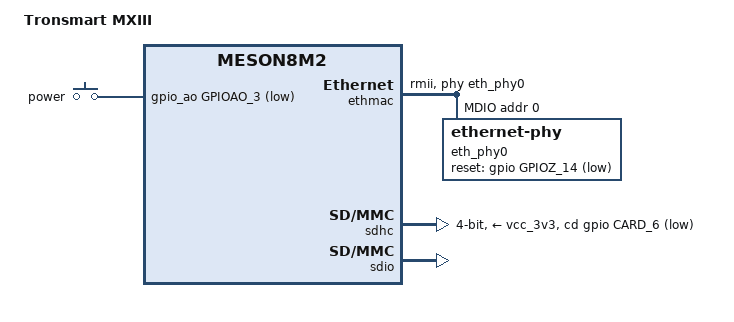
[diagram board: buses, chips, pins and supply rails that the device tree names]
// SPDX-License-Identifier: (GPL-2.0+ OR MIT)
/*
 * Copyright (c) 2018 Martin Blumenstingl <martin.blumenstingl@googlemail.com>
 */

/dts-v1/;

#include "meson8m2-mxiii.dtsi"

/ {
	model = "Tronsmart MXIII";
	compatible = "tronsmart,mxiii", "amlogic,meson8m2";

	gpio-keys-polled {
		compatible = "gpio-keys-polled";
		#address-cells = <1>;
		#size-cells = <0>;
		poll-interval = <100>;

		button-power {
			label = "power";
			linux,code = <KEY_POWER>;
			gpios = <&gpio_ao GPIOAO_3 GPIO_ACTIVE_LOW>;
		};
	};
};

&ethmac {
	status = "okay";

	pinctrl-0 = <&eth_pins>;
	pinctrl-names = "default";

	phy-handle = <&eth_phy0>;
	phy-mode = "rmii";

	mdio {
		compatible = "snps,dwmac-mdio";
		#address-cells = <1>;
		#size-cells = <0>;

		eth_phy0: ethernet-phy@0 {
			/* IC Plus IP101A/G (0x02430c54) */
			reg = <0>;
			icplus,select-interrupt;
			interrupt-parent = <&gpio_intc>;
			/* GPIODV_29 = 94 and GPIOZ_4 are not working */
			/* interrupts = <94 IRQ_TYPE_LEVEL_LOW>; */

			reset-assert-us = <10000>;
			reset-deassert-us = <10000>;
			reset-gpios = <&gpio GPIOZ_14 GPIO_ACTIVE_LOW>;
		};
	};
};

&sdhc {
	status = "okay";

	pinctrl-0 = <&sdxc_b_pins>;
	pinctrl-names = "default";

	bus-width = <4>;
	max-frequency = <50000000>;

	no-mmc;
	no-sdio;
	cap-sd-highspeed;
	disable-wp;

	cd-gpios = <&gpio CARD_6 GPIO_ACTIVE_LOW>;

	vmmc-supply = <&vcc_3v3>;
	vqmmc-supply = <&vcc_3v3>;
};

&sdio {
	status = "okay";

	pinctrl-0 = <&sd_a_pins>;
	pinctrl-names = "default";

	/* wifi */
	slot@0 {
		compatible = "mmc-slot";
		reg = <0>;

		bus-width = <4>;
		max-frequency = <50000000>;

		disable-wp;
		non-removable;
		cap-mmc-highspeed;
		cap-sd-highspeed;

		mmc-pwrseq = <&sdio_pwrseq>;

		vmmc-supply = <&vcc_3v3>;
	};
};
